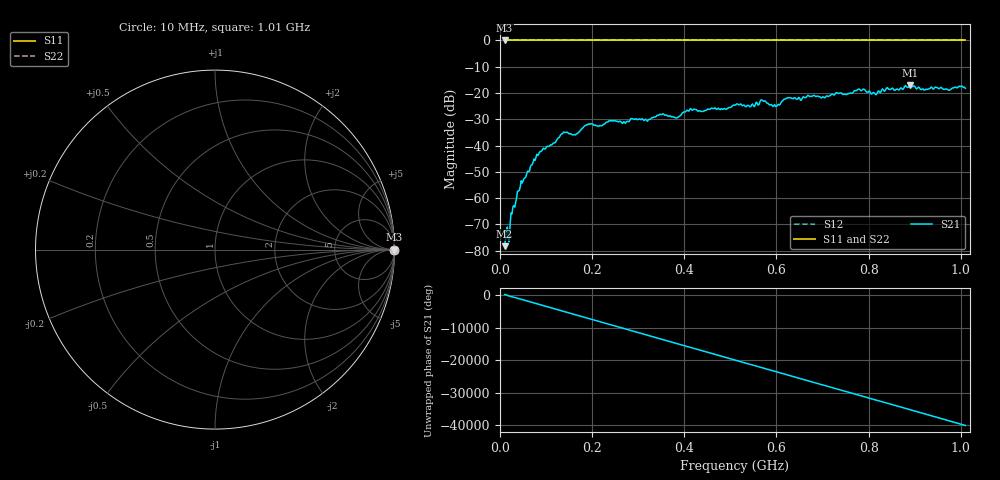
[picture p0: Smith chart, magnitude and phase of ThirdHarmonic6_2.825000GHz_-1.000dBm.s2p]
! 8/17/2025 7:30:06 AM
! C:\ANRITSUVNA\TEMP\TEMP.S2P
! CHANNEL.1
! TR.MEASUREMENT
! RAW.DATA
! RF.CORRECTION.OFF
! AVERAGING.OFF
! IF.BANDWIDTH: 5KHZ
! SWEEPTYPE:  FREQ.SWEEP(Linear)
! Reference Plane Port Info
! PORT:  PORT1  PORT2
! DISTANCE:  0  m  0  m
! TIME:  0  s  0  s
! PHASE.OFFSET:  0  deg.  0  deg.
! LOSS:  0  dB  0  dB
! REF.LOSS:  0  dB  0  dB
! REF.FREQ:  0  Hz  0  Hz
! Power Info
! POWER:  -20  dBm  -20  dBm
! EFF.POWER:  -20  dBm  -20  dBm
! SOURCE.ATTEN:  0  dB  0  dB
! TEST.ATTEN:  0  dB  0  dB
# GHZ S RI R 50.0
! FREQ.GHZ  S11RE  S11IM  S21RE  S21IM  S12RE  S12IM  S22RE  S22IM
!; PortSelection: Port_12
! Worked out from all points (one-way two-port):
!   501 points, 10 MHz to 1.01 GHz, reference 50 ohm
!   highest |S21| = -17.02 dB at 890 MHz (marker M1); lowest = -78.3 dB at 10 MHz (marker M2)
!   lowest |S11| = 0.0 dB at 10 MHz (marker M3)
!   |S11| at or under -10 dB: nowhere
!   |S22| runs from 0.0 to 0.0 dB; largest |S21 - S12| = 1.1
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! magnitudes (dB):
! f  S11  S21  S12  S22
! 10 MHz  0.0  -78.3  0.0  0.0
! 22 MHz  0.0  -69.8  0.0  0.0
! 26 MHz  0.0  -66.0  0.0  0.0
! 42 MHz  0.0  -57.0  0.0  0.0
! 76 MHz  0.0  -45.7  0.0  0.0
! 136 MHz  0.0  -35.5  0.0  0.0
! 162 MHz  0.0  -35.8  0.0  0.0
! 178 MHz  0.0  -33.5  0.0  0.0
! 344 MHz  0.0  -28.5  0.0  0.0
! 382 MHz  0.0  -29.4  0.0  0.0
! 410 MHz  0.0  -26.9  0.0  0.0
! 510 MHz  0.0  -24.6  0.0  0.0
! 548 MHz  0.0  -24.2  0.0  0.0
! 570 MHz  0.0  -22.9  0.0  0.0
! 596 MHz  0.0  -24.4  0.0  0.0
! 624 MHz  0.0  -21.8  0.0  0.0
! 678 MHz  0.0  -21.2  0.0  0.0
! 778 MHz  0.0  -18.5  0.0  0.0
! 814 MHz  0.0  -20.3  0.0  0.0
! 844 MHz  0.0  -18.6  0.0  0.0
! 890 MHz  0.0  -17.0  0.0  0.0
! 1.01 GHz  0.0  -18.2  0.0  0.0
